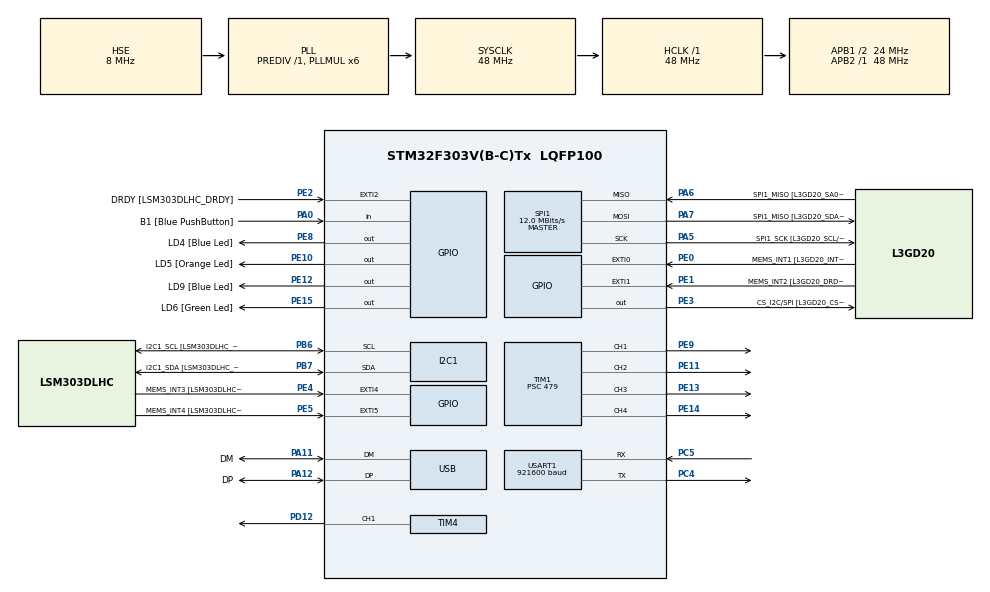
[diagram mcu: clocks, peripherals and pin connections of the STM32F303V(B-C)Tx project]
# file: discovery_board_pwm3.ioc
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I2C1.Timing=0x00201D2B
I2C1.Timing-I2C=0x2000090E
Mcu.Family=STM32F3
Mcu.Name=STM32F303V(B-C)Tx
Mcu.Package=LQFP100
Mcu.UserConstants=SAMPLE_RANGE,1000
NVIC.PriorityGroup=NVIC_PRIORITYGROUP_0
NVIC.TIM4_IRQn=true\:0\:0\:false\:false\:true\:true\:true\:true
PA0.GPIO_Label=B1 [Blue PushButton]
PA0.Signal=GPIO_Input
PA11.GPIO_Label=DM
PA11.Mode=Device
PA11.Signal=USB_DM
PA12.GPIO_Label=DP
PA12.Mode=Device
PA12.Signal=USB_DP
PA13.GPIO_Label=SWDIO
PA13.Mode=Serial_Wire
PA13.Signal=SYS_JTMS-SWDIO
PA14.GPIO_Label=SWCLK
PA14.Mode=Serial_Wire
PA14.Signal=SYS_JTCK-SWCLK
PA5.GPIO_Label=SPI1_SCK [L3GD20_SCL/SPC]
PA5.Mode=Full_Duplex_Master
PA5.Signal=SPI1_SCK
PA6.GPIO_Label=SPI1_MISO [L3GD20_SA0/SDO]
PA6.Mode=Full_Duplex_Master
PA6.Signal=SPI1_MISO
PA7.GPIO_Label=SPI1_MISO [L3GD20_SDA/SDI/SDO]
PA7.Mode=Full_Duplex_Master
PA7.Signal=SPI1_MOSI
PB3.GPIO_Label=SWO
PB3.Signal=SYS_JTDO-TRACESWO
PB6.GPIO_Label=I2C1_SCL [LSM303DLHC_SCL]
PB6.GPIO_Pu=GPIO_PULLUP
PB6.Mode=I2C
PB6.Signal=I2C1_SCL
PB7.GPIO_Label=I2C1_SDA [LSM303DLHC_SDA]
PB7.GPIO_Pu=GPIO_PULLUP
PB7.Mode=I2C
PB7.Signal=I2C1_SDA
PC14-OSC32_IN.GPIO_Label=OSC32_IN
PC14-OSC32_IN.Signal=RCC_OSC32_IN
PC15-OSC32_OUT.GPIO_Label=OSC32_OUT
PC15-OSC32_OUT.Signal=RCC_OSC32_OUT
PC4.Mode=Asynchronous
PC4.Signal=USART1_TX
PC5.Mode=Asynchronous
PC5.Signal=USART1_RX
PD12.Signal=S_TIM4_CH1
PE0.GPIO_Label=MEMS_INT1 [L3GD20_INT1]
PE0.GPIO_ModeDefaultEXTI=GPIO_MODE_EVT_RISING
PE0.Signal=GPXTI0
PE1.GPIO_Label=MEMS_INT2 [L3GD20_DRDY/INT2]
PE1.GPIO_ModeDefaultEXTI=GPIO_MODE_EVT_RISING
PE1.Signal=GPXTI1
PE10.GPIO_Label=LD5 [Orange Led]
PE10.Signal=GPIO_Output
PE11.Signal=S_TIM1_CH2
PE12.GPIO_Label=LD9 [Blue Led]
PE12.Signal=GPIO_Output
PE13.Signal=S_TIM1_CH3
PE14.Signal=S_TIM1_CH4
PE15.GPIO_Label=LD6 [Green Led]
PE15.Signal=GPIO_Output
PE2.GPIO_Label=DRDY [LSM303DLHC_DRDY]
PE2.GPIO_ModeDefaultEXTI=GPIO_MODE_EVT_RISING
PE2.Signal=GPXTI2
PE3.GPIO_Label=CS_I2C/SPI [L3GD20_CS_I2C/SPI]
PE3.Signal=GPIO_Output
PE4.GPIO_Label=MEMS_INT3 [LSM303DLHC_INT1]
PE4.GPIO_ModeDefaultEXTI=GPIO_MODE_EVT_RISING
PE4.Signal=GPXTI4
PE5.GPIO_Label=MEMS_INT4 [LSM303DLHC_INT2]
PE5.GPIO_ModeDefaultEXTI=GPIO_MODE_EVT_RISING
PE5.Signal=GPXTI5
PE8.GPIO_Label=LD4 [Blue Led]
PE8.Signal=GPIO_Output
PE9.Signal=S_TIM1_CH1
PF0-OSC_IN.GPIO_Label=OSC_IN
PF0-OSC_IN.Mode=HSE-External-Clock-Source
PF0-OSC_IN.Signal=RCC_OSC_IN
PF1-OSC_OUT.GPIO_Label=OSC_OUT
PF1-OSC_OUT.Signal=RCC_OSC_OUT
ProjectManager.HeapSize=0x200
ProjectManager.StackSize=0x400
ProjectManager.TargetToolchain=STM32CubeIDE
RCC.AHBFreq_Value=48000000
RCC.APB1CLKDivider=RCC_HCLK_DIV2
RCC.APB1Freq_Value=24000000
RCC.APB1TimFreq_Value=48000000
RCC.APB2Freq_Value=48000000
RCC.APB2TimFreq_Value=48000000
RCC.CortexFreq_Value=48000000
RCC.HCLKFreq_Value=48000000
RCC.HSE_VALUE=8000000
RCC.HSI_VALUE=8000000
RCC.LSE_VALUE=32768
RCC.PLLMUL=RCC_PLL_MUL6
RCC.SYSCLKFreq_VALUE=48000000
RCC.SYSCLKSourceVirtual=RCC_SYSCLKSOURCE_PLLCLK
RCC.USBFreq_Value=48000000
SH.S_TIM1_CH1.0=TIM1_CH1,PWM Generation1 CH1
SH.S_TIM1_CH2.0=TIM1_CH2,PWM Generation2 CH2
SH.S_TIM1_CH3.0=TIM1_CH3,PWM Generation3 CH3
SH.S_TIM1_CH4.0=TIM1_CH4,PWM Generation4 CH4
SH.S_TIM4_CH1.0=TIM4_CH1,PWM Generation1 CH1
SPI1.BaudRatePrescaler=SPI_BAUDRATEPRESCALER_4
SPI1.BaudRatePrescaler-Full_Duplex_Master=SPI_BAUDRATEPRESCALER_2
SPI1.CalculateBaudRate=12.0 MBits/s
SPI1.CalculateBaudRate-Full_Duplex_Master=24.0 MBits/s
SPI1.Direction=SPI_DIRECTION_2LINES
SPI1.Mode=SPI_MODE_MASTER
SPI1.Mode-Full_Duplex_Master=SPI_MODE_MASTER
SPI1.VirtualType=VM_MASTER
TIM1.Channel-PWM\ Generation1\ CH1=TIM_CHANNEL_1
TIM1.Channel-PWM\ Generation2\ CH2=TIM_CHANNEL_2
TIM1.Channel-PWM\ Generation3\ CH3=TIM_CHANNEL_3
TIM1.Channel-PWM\ Generation4\ CH4=TIM_CHANNEL_4
TIM1.Period=SAMPLE_RANGE - 1
TIM1.Prescaler=479
TIM4.Channel-PWM\ Generation1\ CH1=TIM_CHANNEL_1
TIM4.Period=SAMPLE_RANGE - 1
TIM4.Prescaler=479
USART1.BaudRate=921600
USART1.VirtualMode-Asynchronous=VM_ASYNC
VP_TIM1_VS_ClockSourceINT.Mode=Internal
VP_TIM4_VS_ClockSourceINT.Mode=Internal
board=STM32F3DISCOVERY

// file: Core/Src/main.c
/* USER CODE BEGIN Header */
/**
  ******************************************************************************
  * @file           : main.c
  * @brief          : Main program body
  ******************************************************************************
  * @attention
  *
  * Copyright (c) 2025 STMicroelectronics.
  * All rights reserved.
  *
  * This software is licensed under terms that can be found in the LICENSE file
  * in the root directory of this software component.
  * If no LICENSE file comes with this software, it is provided AS-IS.
  *
  ******************************************************************************
  */
/* USER CODE END Header */
#include "main.h"

/* USER CODE BEGIN Includes */
#include <stdio.h>
#include <math.h>
/* USER CODE END Includes */

/* USER CODE BEGIN PD */
#define SAMPLE_DELAY 10
#define SAMPLE_FREQ ( 1000 / SAMPLE_DELAY)
#define SAMPLE_MID (SAMPLE_RANGE / 2)
/* USER CODE END PD */

I2C_HandleTypeDef hi2c1;

SPI_HandleTypeDef hspi1;

TIM_HandleTypeDef htim1;
TIM_HandleTypeDef htim4;

UART_HandleTypeDef huart1;

PCD_HandleTypeDef hpcd_USB_FS;

/* USER CODE BEGIN PV */

uint32_t cb_cnt = 0;

uint32_t led_channels[] = {
		TIM_CHANNEL_1,
		TIM_CHANNEL_2,
		TIM_CHANNEL_3,
		TIM_CHANNEL_4
};

float angles[] = {
		0,
		0,
		0,
		0

};

float angle_changes[] = {
		1 * (2 * M_PI / SAMPLE_FREQ),
		2 * (2 * M_PI / SAMPLE_FREQ),
		0.5 * (2 * M_PI / SAMPLE_FREQ),
		0.25 * (2 * M_PI / SAMPLE_FREQ)

};

/* USER CODE END PV */

void SystemClock_Config(void);
static void MX_GPIO_Init(void);
static void MX_I2C1_Init(void);
static void MX_SPI1_Init(void);
static void MX_USB_PCD_Init(void);
static void MX_USART1_UART_Init(void);
static void MX_TIM1_Init(void);
static void MX_TIM4_Init(void);

/* USER CODE BEGIN 0 */

// Send printf to uart1
int _write(int fd, char* ptr, int len) {
  HAL_StatusTypeDef hstatus;

  if (fd == 1 || fd == 2) {
    hstatus = HAL_UART_Transmit(&huart1, (uint8_t *) ptr, len, HAL_MAX_DELAY);
    if (hstatus == HAL_OK)
      return len;
    else
      return -1;
  }
  return -1;
}

inline void HAL_TIM_PWM_PulseFinishedCallback(TIM_HandleTypeDef *htim) {
	if (htim->Instance == TIM4) {

		  for ( int i = 0; i < sizeof(angles) / sizeof(angles[0]); ++i ) {

			  angles[i] += angle_changes[i];

			  if (angles[i] >= 2 * M_PI)
				  angles[i] -= (2 * M_PI);

			  __HAL_TIM_SET_COMPARE(&htim1, led_channels[i], SAMPLE_MID - (SAMPLE_MID * sin(angles[i])));

			  if (i == 0)
				  __HAL_TIM_SET_COMPARE(&htim4, led_channels[0], SAMPLE_MID - (SAMPLE_MID * sin(angles[0])));
		  }

		++cb_cnt;
	}

}

/* USER CODE END 0 */

int main(void)
{

  /* MCU Configuration--------------------------------------------------------*/

  /* Reset of all peripherals, Initializes the Flash interface and the Systick. */
  HAL_Init();

  /* Configure the system clock */
  SystemClock_Config();

  /* Initialize all configured peripherals */
  MX_GPIO_Init();
  MX_I2C1_Init();
  MX_SPI1_Init();
  MX_USB_PCD_Init();
  MX_USART1_UART_Init();
  MX_TIM1_Init();
  MX_TIM4_Init();
  /* USER CODE BEGIN 2 */

  printf("\n\n\nPWM2 starting\n");

  printf("Starting timer channel");
  HAL_TIM_PWM_Start(&htim1, TIM_CHANNEL_1);
  HAL_TIM_PWM_Start(&htim1, TIM_CHANNEL_2);
  HAL_TIM_PWM_Start(&htim1, TIM_CHANNEL_3);
  HAL_TIM_PWM_Start(&htim1, TIM_CHANNEL_4);

  HAL_TIM_PWM_Start_IT(&htim4, TIM_CHANNEL_1);

  /* USER CODE END 2 */

  /* Infinite loop */
  /* USER CODE BEGIN WHILE */

//  uint16_t pwm_value = 0;
//  int8_t pwm_change = 1;

  uint32_t now = 0, loop_cnt = 0, next_tick = 1000, next_change = 0, next_sample = SAMPLE_DELAY;
  while (1)
  {
	  now = uwTick;

	  if ( now >= next_tick) {

		  printf("Tick %lu ( loop = %lu cb = %lu)\n", now / 1000, loop_cnt, cb_cnt);

		  loop_cnt = 0;
		  next_tick = now + 1000;
	  }

//	  if ( now > next_change) {
//
//		  __HAL_TIM_SET_COMPARE(&htim1, TIM_CHANNEL_1, pwm_value);
//		  __HAL_TIM_SET_COMPARE(&htim1, TIM_CHANNEL_2, 1000 - pwm_value);
//		  __HAL_TIM_SET_COMPARE(&htim1, TIM_CHANNEL_3, pwm_value);
//		  __HAL_TIM_SET_COMPARE(&htim1, TIM_CHANNEL_4, 1000 - pwm_value);
//
//		  pwm_value += pwm_change;
//
//		  if(pwm_value == 0)
//			  pwm_change = 1;
//		  if(pwm_value == 1000)
//			  pwm_change = -1;
//
//
//		  next_change = now + 2;
//	  }

//	  if ( now >= next_sample) {
//		  for ( int i = 0; i < sizeof(angles) / sizeof(angles[0]); ++i ) {
//
//			  angles[i] += angle_changes[i];
//
//			  if (angles[i] >= 2 * M_PI)
//				  angles[i] -= (2 * M_PI);
//
//			  __HAL_TIM_SET_COMPARE(&htim1, led_channels[i], SAMPLE_MID - (SAMPLE_MID * sin(angles[i])));
//
//			  if (i == 0)
//				  __HAL_TIM_SET_COMPARE(&htim4, led_channels[0], SAMPLE_MID - (SAMPLE_MID * sin(angles[0])));
//		  }
//		  next_sample = now + SAMPLE_DELAY;
//	  }
	  ++loop_cnt;
    /* USER CODE END WHILE */

  }
}

void SystemClock_Config(void)
{
  RCC_OscInitTypeDef RCC_OscInitStruct = {0};
  RCC_ClkInitTypeDef RCC_ClkInitStruct = {0};
  RCC_PeriphCLKInitTypeDef PeriphClkInit = {0};

  /** Initializes the RCC Oscillators according to the specified parameters
  * in the RCC_OscInitTypeDef structure.
  */
  RCC_OscInitStruct.OscillatorType = RCC_OSCILLATORTYPE_HSI|RCC_OSCILLATORTYPE_HSE;
  RCC_OscInitStruct.HSEState = RCC_HSE_BYPASS;
  RCC_OscInitStruct.HSEPredivValue = RCC_HSE_PREDIV_DIV1;
  RCC_OscInitStruct.HSIState = RCC_HSI_ON;
  RCC_OscInitStruct.HSICalibrationValue = RCC_HSICALIBRATION_DEFAULT;
  RCC_OscInitStruct.PLL.PLLState = RCC_PLL_ON;
  RCC_OscInitStruct.PLL.PLLSource = RCC_PLLSOURCE_HSE;
  RCC_OscInitStruct.PLL.PLLMUL = RCC_PLL_MUL6;
  if (HAL_RCC_OscConfig(&RCC_OscInitStruct) != HAL_OK)
  {
    Error_Handler();
  }

  /** Initializes the CPU, AHB and APB buses clocks
  */
  RCC_ClkInitStruct.ClockType = RCC_CLOCKTYPE_HCLK|RCC_CLOCKTYPE_SYSCLK
                              |RCC_CLOCKTYPE_PCLK1|RCC_CLOCKTYPE_PCLK2;
  RCC_ClkInitStruct.SYSCLKSource = RCC_SYSCLKSOURCE_PLLCLK;
  RCC_ClkInitStruct.AHBCLKDivider = RCC_SYSCLK_DIV1;
  RCC_ClkInitStruct.APB1CLKDivider = RCC_HCLK_DIV2;
  RCC_ClkInitStruct.APB2CLKDivider = RCC_HCLK_DIV1;

  if (HAL_RCC_ClockConfig(&RCC_ClkInitStruct, FLASH_LATENCY_1) != HAL_OK)
  {
    Error_Handler();
  }
  PeriphClkInit.PeriphClockSelection = RCC_PERIPHCLK_USB|RCC_PERIPHCLK_USART1
                              |RCC_PERIPHCLK_I2C1|RCC_PERIPHCLK_TIM1;
  PeriphClkInit.Usart1ClockSelection = RCC_USART1CLKSOURCE_PCLK2;
  PeriphClkInit.I2c1ClockSelection = RCC_I2C1CLKSOURCE_HSI;
  PeriphClkInit.USBClockSelection = RCC_USBCLKSOURCE_PLL;
  PeriphClkInit.Tim1ClockSelection = RCC_TIM1CLK_HCLK;
  if (HAL_RCCEx_PeriphCLKConfig(&PeriphClkInit) != HAL_OK)
  {
    Error_Handler();
  }
}

static void MX_I2C1_Init(void)
{

  hi2c1.Instance = I2C1;
  hi2c1.Init.Timing = 0x00201D2B;
  hi2c1.Init.OwnAddress1 = 0;
  hi2c1.Init.AddressingMode = I2C_ADDRESSINGMODE_7BIT;
  hi2c1.Init.DualAddressMode = I2C_DUALADDRESS_DISABLE;
  hi2c1.Init.OwnAddress2 = 0;
  hi2c1.Init.OwnAddress2Masks = I2C_OA2_NOMASK;
  hi2c1.Init.GeneralCallMode = I2C_GENERALCALL_DISABLE;
  hi2c1.Init.NoStretchMode = I2C_NOSTRETCH_DISABLE;
  if (HAL_I2C_Init(&hi2c1) != HAL_OK)
  {
    Error_Handler();
  }

  /** Configure Analogue filter
  */
  if (HAL_I2CEx_ConfigAnalogFilter(&hi2c1, I2C_ANALOGFILTER_ENABLE) != HAL_OK)
  {
    Error_Handler();
  }

  /** Configure Digital filter
  */
  if (HAL_I2CEx_ConfigDigitalFilter(&hi2c1, 0) != HAL_OK)
  {
    Error_Handler();
  }

}

static void MX_SPI1_Init(void)
{

  /* SPI1 parameter configuration*/
  hspi1.Instance = SPI1;
  hspi1.Init.Mode = SPI_MODE_MASTER;
  hspi1.Init.Direction = SPI_DIRECTION_2LINES;
  hspi1.Init.DataSize = SPI_DATASIZE_4BIT;
  hspi1.Init.CLKPolarity = SPI_POLARITY_LOW;
  hspi1.Init.CLKPhase = SPI_PHASE_1EDGE;
  hspi1.Init.NSS = SPI_NSS_SOFT;
  hspi1.Init.BaudRatePrescaler = SPI_BAUDRATEPRESCALER_4;
  hspi1.Init.FirstBit = SPI_FIRSTBIT_MSB;
  hspi1.Init.TIMode = SPI_TIMODE_DISABLE;
  hspi1.Init.CRCCalculation = SPI_CRCCALCULATION_DISABLE;
  hspi1.Init.CRCPolynomial = 7;
  hspi1.Init.CRCLength = SPI_CRC_LENGTH_DATASIZE;
  hspi1.Init.NSSPMode = SPI_NSS_PULSE_ENABLE;
  if (HAL_SPI_Init(&hspi1) != HAL_OK)
  {
    Error_Handler();
  }

}

static void MX_TIM1_Init(void)
{

  TIM_ClockConfigTypeDef sClockSourceConfig = {0};
  TIM_MasterConfigTypeDef sMasterConfig = {0};
  TIM_OC_InitTypeDef sConfigOC = {0};
  TIM_BreakDeadTimeConfigTypeDef sBreakDeadTimeConfig = {0};

  htim1.Instance = TIM1;
  htim1.Init.Prescaler = 479;
  htim1.Init.CounterMode = TIM_COUNTERMODE_UP;
  htim1.Init.Period = SAMPLE_RANGE - 1;
  htim1.Init.ClockDivision = TIM_CLOCKDIVISION_DIV1;
  htim1.Init.RepetitionCounter = 0;
  htim1.Init.AutoReloadPreload = TIM_AUTORELOAD_PRELOAD_DISABLE;
  if (HAL_TIM_Base_Init(&htim1) != HAL_OK)
  {
    Error_Handler();
  }
  sClockSourceConfig.ClockSource = TIM_CLOCKSOURCE_INTERNAL;
  if (HAL_TIM_ConfigClockSource(&htim1, &sClockSourceConfig) != HAL_OK)
  {
    Error_Handler();
  }
  if (HAL_TIM_PWM_Init(&htim1) != HAL_OK)
  {
    Error_Handler();
  }
  sMasterConfig.MasterOutputTrigger = TIM_TRGO_RESET;
  sMasterConfig.MasterOutputTrigger2 = TIM_TRGO2_RESET;
  sMasterConfig.MasterSlaveMode = TIM_MASTERSLAVEMODE_DISABLE;
  if (HAL_TIMEx_MasterConfigSynchronization(&htim1, &sMasterConfig) != HAL_OK)
  {
    Error_Handler();
  }
  sConfigOC.OCMode = TIM_OCMODE_PWM1;
  sConfigOC.Pulse = 0;
  sConfigOC.OCPolarity = TIM_OCPOLARITY_HIGH;
  sConfigOC.OCNPolarity = TIM_OCNPOLARITY_HIGH;
  sConfigOC.OCFastMode = TIM_OCFAST_DISABLE;
  sConfigOC.OCIdleState = TIM_OCIDLESTATE_RESET;
  sConfigOC.OCNIdleState = TIM_OCNIDLESTATE_RESET;
  if (HAL_TIM_PWM_ConfigChannel(&htim1, &sConfigOC, TIM_CHANNEL_1) != HAL_OK)
  {
    Error_Handler();
  }
  if (HAL_TIM_PWM_ConfigChannel(&htim1, &sConfigOC, TIM_CHANNEL_2) != HAL_OK)
  {
    Error_Handler();
  }
  if (HAL_TIM_PWM_ConfigChannel(&htim1, &sConfigOC, TIM_CHANNEL_3) != HAL_OK)
  {
    Error_Handler();
  }
  if (HAL_TIM_PWM_ConfigChannel(&htim1, &sConfigOC, TIM_CHANNEL_4) != HAL_OK)
  {
    Error_Handler();
  }
  sBreakDeadTimeConfig.OffStateRunMode = TIM_OSSR_DISABLE;
  sBreakDeadTimeConfig.OffStateIDLEMode = TIM_OSSI_DISABLE;
  sBreakDeadTimeConfig.LockLevel = TIM_LOCKLEVEL_OFF;
  sBreakDeadTimeConfig.DeadTime = 0;
  sBreakDeadTimeConfig.BreakState = TIM_BREAK_DISABLE;
  sBreakDeadTimeConfig.BreakPolarity = TIM_BREAKPOLARITY_HIGH;
  sBreakDeadTimeConfig.BreakFilter = 0;
  sBreakDeadTimeConfig.Break2State = TIM_BREAK2_DISABLE;
  sBreakDeadTimeConfig.Break2Polarity = TIM_BREAK2POLARITY_HIGH;
  sBreakDeadTimeConfig.Break2Filter = 0;
  sBreakDeadTimeConfig.AutomaticOutput = TIM_AUTOMATICOUTPUT_DISABLE;
  if (HAL_TIMEx_ConfigBreakDeadTime(&htim1, &sBreakDeadTimeConfig) != HAL_OK)
  {
    Error_Handler();
  }
  HAL_TIM_MspPostInit(&htim1);

}

static void MX_TIM4_Init(void)
{

  TIM_ClockConfigTypeDef sClockSourceConfig = {0};
  TIM_MasterConfigTypeDef sMasterConfig = {0};
  TIM_OC_InitTypeDef sConfigOC = {0};

  htim4.Instance = TIM4;
  htim4.Init.Prescaler = 479;
  htim4.Init.CounterMode = TIM_COUNTERMODE_UP;
  htim4.Init.Period = SAMPLE_RANGE - 1;
  htim4.Init.ClockDivision = TIM_CLOCKDIVISION_DIV1;
  htim4.Init.AutoReloadPreload = TIM_AUTORELOAD_PRELOAD_DISABLE;
  if (HAL_TIM_Base_Init(&htim4) != HAL_OK)
  {
    Error_Handler();
  }
  sClockSourceConfig.ClockSource = TIM_CLOCKSOURCE_INTERNAL;
  if (HAL_TIM_ConfigClockSource(&htim4, &sClockSourceConfig) != HAL_OK)
  {
    Error_Handler();
  }
  if (HAL_TIM_PWM_Init(&htim4) != HAL_OK)
  {
    Error_Handler();
  }
  sMasterConfig.MasterOutputTrigger = TIM_TRGO_RESET;
  sMasterConfig.MasterSlaveMode = TIM_MASTERSLAVEMODE_DISABLE;
  if (HAL_TIMEx_MasterConfigSynchronization(&htim4, &sMasterConfig) != HAL_OK)
  {
    Error_Handler();
  }
  sConfigOC.OCMode = TIM_OCMODE_PWM1;
  sConfigOC.Pulse = 0;
  sConfigOC.OCPolarity = TIM_OCPOLARITY_HIGH;
  sConfigOC.OCFastMode = TIM_OCFAST_DISABLE;
  if (HAL_TIM_PWM_ConfigChannel(&htim4, &sConfigOC, TIM_CHANNEL_1) != HAL_OK)
  {
    Error_Handler();
  }
  HAL_TIM_MspPostInit(&htim4);

}

static void MX_USART1_UART_Init(void)
{

  huart1.Instance = USART1;
  huart1.Init.BaudRate = 921600;
  huart1.Init.WordLength = UART_WORDLENGTH_8B;
  huart1.Init.StopBits = UART_STOPBITS_1;
  huart1.Init.Parity = UART_PARITY_NONE;
  huart1.Init.Mode = UART_MODE_TX_RX;
  huart1.Init.HwFlowCtl = UART_HWCONTROL_NONE;
  huart1.Init.OverSampling = UART_OVERSAMPLING_16;
  huart1.Init.OneBitSampling = UART_ONE_BIT_SAMPLE_DISABLE;
  huart1.AdvancedInit.AdvFeatureInit = UART_ADVFEATURE_NO_INIT;
  if (HAL_UART_Init(&huart1) != HAL_OK)
  {
    Error_Handler();
  }

}

static void MX_USB_PCD_Init(void)
{

  hpcd_USB_FS.Instance = USB;
  hpcd_USB_FS.Init.dev_endpoints = 8;
  hpcd_USB_FS.Init.speed = PCD_SPEED_FULL;
  hpcd_USB_FS.Init.phy_itface = PCD_PHY_EMBEDDED;
  hpcd_USB_FS.Init.low_power_enable = DISABLE;
  hpcd_USB_FS.Init.battery_charging_enable = DISABLE;
  if (HAL_PCD_Init(&hpcd_USB_FS) != HAL_OK)
  {
    Error_Handler();
  }

}

static void MX_GPIO_Init(void)
{
  GPIO_InitTypeDef GPIO_InitStruct = {0};

  /* GPIO Ports Clock Enable */
  __HAL_RCC_GPIOE_CLK_ENABLE();
  __HAL_RCC_GPIOC_CLK_ENABLE();
  __HAL_RCC_GPIOF_CLK_ENABLE();
  __HAL_RCC_GPIOA_CLK_ENABLE();
  __HAL_RCC_GPIOD_CLK_ENABLE();
  __HAL_RCC_GPIOB_CLK_ENABLE();

  /*Configure GPIO pin Output Level */
  HAL_GPIO_WritePin(GPIOE, CS_I2C_SPI_Pin|LD4_Pin|LD5_Pin|LD9_Pin
                          |LD6_Pin, GPIO_PIN_RESET);

  /*Configure GPIO pins : DRDY_Pin MEMS_INT3_Pin MEMS_INT4_Pin MEMS_INT1_Pin
                           MEMS_INT2_Pin */
  GPIO_InitStruct.Pin = DRDY_Pin|MEMS_INT3_Pin|MEMS_INT4_Pin|MEMS_INT1_Pin
                          |MEMS_INT2_Pin;
  GPIO_InitStruct.Mode = GPIO_MODE_EVT_RISING;
  GPIO_InitStruct.Pull = GPIO_NOPULL;
  HAL_GPIO_Init(GPIOE, &GPIO_InitStruct);

  /*Configure GPIO pins : CS_I2C_SPI_Pin LD4_Pin LD5_Pin LD9_Pin
                           LD6_Pin */
  GPIO_InitStruct.Pin = CS_I2C_SPI_Pin|LD4_Pin|LD5_Pin|LD9_Pin
                          |LD6_Pin;
  GPIO_InitStruct.Mode = GPIO_MODE_OUTPUT_PP;
  GPIO_InitStruct.Pull = GPIO_NOPULL;
  GPIO_InitStruct.Speed = GPIO_SPEED_FREQ_LOW;
  HAL_GPIO_Init(GPIOE, &GPIO_InitStruct);

  /*Configure GPIO pin : B1_Pin */
  GPIO_InitStruct.Pin = B1_Pin;
  GPIO_InitStruct.Mode = GPIO_MODE_INPUT;
  GPIO_InitStruct.Pull = GPIO_NOPULL;
  HAL_GPIO_Init(B1_GPIO_Port, &GPIO_InitStruct);

}

void Error_Handler(void)
{
  __disable_irq();
  while (1)
  {
  }
}
